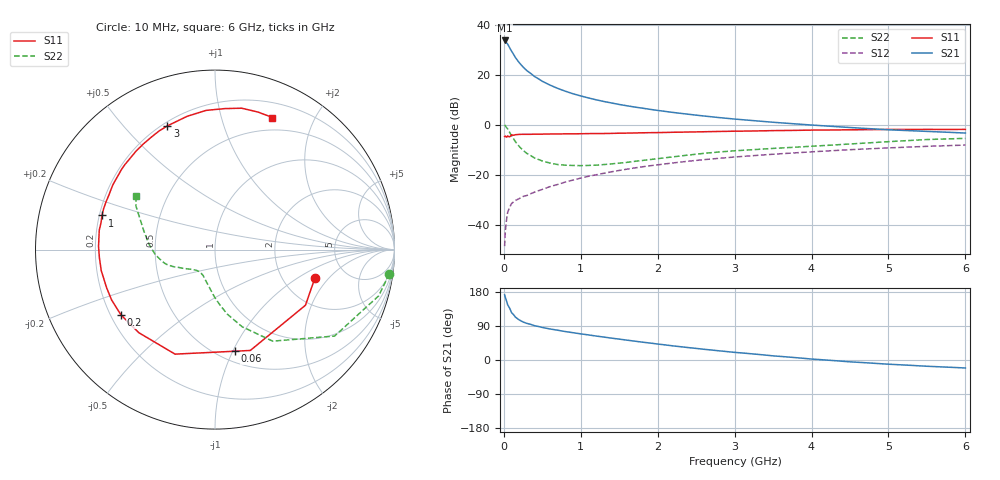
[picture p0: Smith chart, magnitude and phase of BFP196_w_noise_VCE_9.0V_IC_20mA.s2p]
! Infineon Technologies  Discrete & RF Semiconductors
! BFP196
! VCE =  9.0 V,  IC =  20 mA
! Common Emitter S-Parameters:  Jan 2017
# GHz  S  MA  R  50
!  f  S11  S21  S12  S22
! GHz  MAG  ANG  MAG  ANG  MAG  ANG  MAG  ANG
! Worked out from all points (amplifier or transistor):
!   77 points, 10 MHz to 6 GHz, reference 50 ohm
!   highest |S21| = 33.7 dB at 10 MHz (marker M1)
!   |S21| within 3 dB of that: start of sweep to 76.91 MHz
!   unconditionally stable (mu >= 1): 825.6 MHz to 2.368 GHz
!   at 130 MHz: K = 0.36, MSG = 29.4 dB, |S12| = -30.8 dB
!   at 2.2 GHz: K = 1.01, MAG = 9.4 dB, |S12| = -15.3 dB
!   at 6 GHz: K = 0.91, MSG = 2.4 dB, |S12| = -8.2 dB
!   lowest NFmin = 1.10 dB at 450 MHz
!   S11 on the Smith chart (normalised r, x): 10 MHz: 2.99, -1.43; 60 MHz: 0.60, -1.02; 200 MHz: 0.24, -0.30; 1 GHz: 0.21, +0.14; 3 GHz: 0.22, +0.66; 6 GHz: 0.35, +1.47
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0.01  0.5787 -16.0  48.28 172.0  0.0037 84.1  0.9808 -7.9
0.02  0.5917 -31.6  47.59 164.7  0.0075 80.8  0.9476 -15.8
0.05  0.5954 -70.7  40.72 145.4  0.0177 62.6  0.822 -35.9
0.06  0.5772 -78.7  38.18 142.3  0.0193 59.6  0.7708 -39.2
0.1  0.6235 -110.9  29.58 124.9  0.0263 51.4  0.6027 -57.8
0.15  0.6281 -132.5  22.06 113.2  0.0303 44.6  0.4559 -70.6
0.2  0.6379 -145.3  17.36 105.8  0.0331 44.9  0.3662 -79.2
0.25  0.6408 -154.2  14.21 100.3  0.0365 45.8  0.3064 -85.3
0.3  0.6401 -160.6  11.99 96.6  0.0383 46.4  0.2651 -90.5
0.4  0.6445 -169.5  9.153 90.5  0.0447 49.6  0.215 -98.1
0.5  0.6457 -176.1  7.364 85.9  0.0506 52.3  0.1872 -104.6
0.6  0.6491 178.5  6.18 81.9  0.0575 53.6  0.1701 -110.2
0.7  0.65 174.4  5.309 78.6  0.0635 56.0  0.1589 -114.5
1  0.6577 163.2  3.748 69.0  0.0851 57.7  0.151 -126.0
1.1  0.661 159.9  3.418 66.2  0.0925 58.3  0.1527 -128.6
1.5  0.6736 147.8  2.53 55.1  0.1212 56.5  0.1695 -139.6
2.1  0.6972 131.4  1.836 39.8  0.164 51.5  0.2175 -152.2
3  0.7386 111.1  1.292 20.1  0.2248 41.9  0.2997 -166.9
3.1  0.741 109.2  1.254 18.5  0.2308 40.7  0.3061 -168.7
4.1  0.7781 92.1  0.959 1.2  0.2912 29.7  0.3766 173.1
5.1  0.8011 78.0  0.777 -12.1  0.3471 18.2  0.4654 155.7
6  0.8025 66.5  0.679 -21.1  0.3902 7.8  0.5312 146.0
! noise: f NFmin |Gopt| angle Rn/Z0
0.45  1.1  0.34  159  0.05
0.9  1.3  0.47  179  0.06
1.9  2.2  0.68  -137  0.24
2.4  2.65  0.72  -122  0.59
